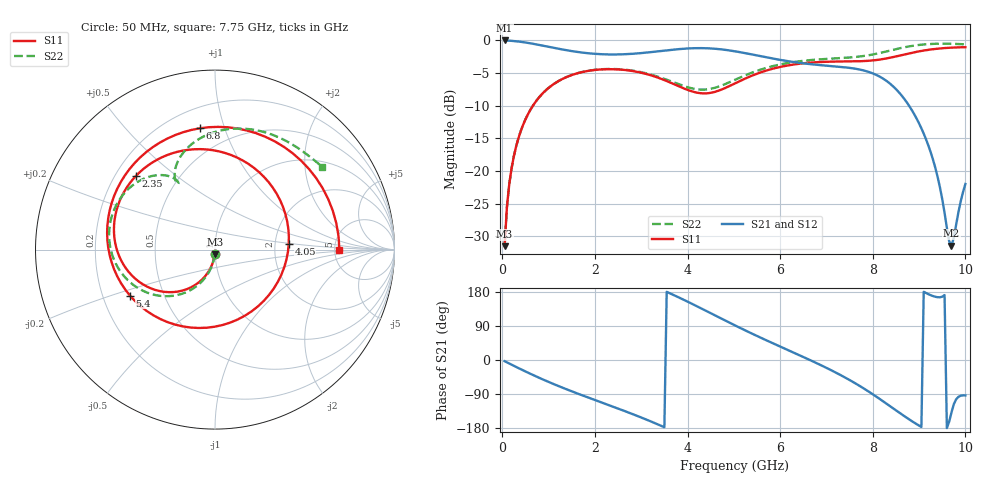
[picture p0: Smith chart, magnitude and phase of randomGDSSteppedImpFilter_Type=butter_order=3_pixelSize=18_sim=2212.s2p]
! freq	dB(S11)	phase(S11)	dB(S12)	phase(S12)
!  dB(S21)	phase(S21)	dB(S22)	phase(S22)
!S-par simulation data
#  GHz  S  DB  R 50
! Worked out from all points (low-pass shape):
!   200 points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, 50 MHz to 10 GHz, reference 50 ohm
!   highest |S21| = -0.01 dB at 50 MHz (marker M1); lowest = -31.4 dB at 9.7 GHz (marker M2)
!   |S21| within 3 dB of the highest: start of sweep to 6.02 GHz
!   lowest |S11| = -31.5 dB at 50 MHz (marker M3), VSWR 1.05, Z = 49.8 - j2.64 ohm
!   |S11| at or under -10 dB: start of sweep to 662.1 MHz
!   |S22| runs from -31.5 to -0.5 dB; largest |S21 - S12| = 0
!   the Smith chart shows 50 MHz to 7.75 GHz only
!   S11 on the Smith chart (normalised r, x): 50 MHz: 1.00, -0.05; 2.35 GHz: 0.28, +0.37; 4.05 GHz: 2.39, +0.17; 5.4 GHz: 0.32, -0.23; 6.8 GHz: 0.33, +0.83; 7.75 GHz: 5.52, -0.02
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0.05  -31.52 -93.3  -0.01 -3.1  -0.01 -3.1  -31.51 -93.0
0.2  -19.61 -103.5  -0.07 -12.3  -0.07 -12.3  -19.60 -102.2
0.5  -12.10 -122.3  -0.32 -30.3  -0.32 -30.3  -12.10 -119.2
1.75  -4.81 168.4  -1.88 -94.3  -1.88 -94.3  -4.80 -177.9
2.35  -4.41 136.9  -2.15 -121.3  -2.15 -121.3  -4.37 159.6
3.4  -5.80 68.8  -1.64 -172.1  -1.64 -172.1  -5.65 127.4
4.05  -7.70 4.2  -1.22 151.1  -1.22 151.1  -7.27 118.7
4.6  -7.86 -65.9  -1.28 117.3  -1.28 117.3  -7.24 119.9
5.05  -6.50 -118.0  -1.70 89.8  -1.70 89.8  -5.95 116.0
5.4  -5.38 -151.6  -2.16 69.2  -2.16 69.2  -4.92 108.2
6.05  -3.99 155.7  -3.04 32.7  -3.04 32.7  -3.61 88.6
6.7  -3.38 105.2  -3.67 -3.3  -3.67 -3.3  -2.99 67.7
6.8  -3.33 96.9  -3.74 -9.0  -3.74 -9.0  -2.93 64.6
7.3  -3.23 51.1  -4.05 -39.5  -4.05 -39.5  -2.71 49.7
7.75  -3.18 -0.1  -4.51 -70.9  -4.51 -70.9  -2.44 37.6
8.05  -3.03 -40.8  -5.20 -94.5  -5.20 -94.5  -2.09 29.7
8.35  -2.69 -85.5  -6.50 -119.8  -6.50 -119.8  -1.60 21.0
8.65  -2.21 -130.7  -8.68 -145.5  -8.68 -145.5  -1.10 11.0
9  -1.67 -179.8  -12.72 -173.2  -12.72 -173.2  -0.69 -2.0
9.3  -1.35 142.6  -18.25 168.7  -18.25 168.7  -0.53 -13.4
9.7  -1.11 98.1  -31.44 -138.2  -31.44 -138.2  -0.52 -28.2
10  -1.05 67.7  -21.99 -93.5  -21.99 -93.5  -0.61 -38.9
